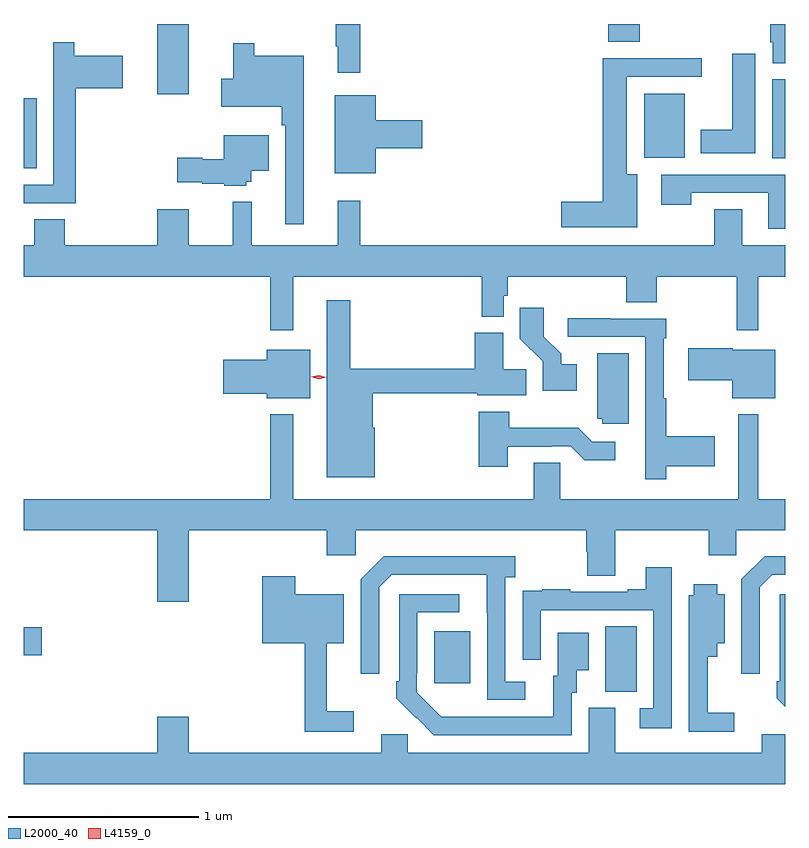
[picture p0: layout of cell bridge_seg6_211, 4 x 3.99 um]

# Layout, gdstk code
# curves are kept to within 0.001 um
import gdstk
lib = gdstk.Library(unit=1e-6, precision=1e-09)
def R(c, l, rs):  # rectangles x0, y0, x1, y1
    for r in rs: c.add(gdstk.rectangle(r[:2], r[2:], *l))
def P(c, l, *ps):  # polygons
    for p in ps: c.add(gdstk.Polygon(p, *l))
L2000_40 = (2000, 40)
L4159_0 = (4159, 0)

bridge_seg6_211 = lib.new_cell('bridge_seg6_211')
R(bridge_seg6_211, L2000_40, [(155.372,923.845,155.536,924.188), (154.475,923.889,154.663,924.163), (152.318,924.035,152.413,924.182), (152.318,926.592,152.386,926.961), (156.248,926.644,156.318,927.06), (155.576,926.648,155.788,926.983), (153.02,926.982,153.184,927.35), (155.387,927.257,155.552,927.35)])
P(bridge_seg6_211, L2000_40, [(154.085,927.35),(153.957,927.35),(153.957,927.233),(153.968,927.233),(153.968,927.093),(154.085,927.093)],
  [(156.318,927.35),(156.239,927.35),(156.239,927.255),(156.251,927.255),(156.251,927.145),(156.318,927.145)],
  [(152.591,927.014),(152.839,927.014),(152.839,927.184),(152.584,927.184),(152.584,927.253),(152.474,927.253),(152.474,927.03),(152.475,927.03),(152.475,926.505),(152.318,926.505),(152.318,926.409),(152.591,926.409)],
  [(153.79,927.184),(153.529,927.184),(153.529,927.25),(153.418,927.25),(153.418,927.063),(153.356,927.063),(153.356,926.915),(153.673,926.915),(153.673,926.819),(153.693,926.819),(153.693,926.298),(153.79,926.298)],
  [(156.16,927.193),(156.038,927.193),(156.038,926.794),(155.873,926.794),(155.873,926.672),(156.16,926.672)],
  [(155.539,926.56),(155.485,926.56),(155.485,927.072),(155.878,927.072),(155.878,927.17),(155.36,927.17),(155.36,926.417),(155.142,926.417),(155.142,926.282),(155.539,926.282)],
  [(154.168,926.699),(154.411,926.699),(154.411,926.846),(154.168,926.846),(154.168,926.977),(153.953,926.977),(153.953,926.567),(154.168,926.567)],
  [(153.486,926.523),(153.514,926.523),(153.514,926.579),(153.604,926.579),(153.604,926.767),(153.368,926.767),(153.368,926.641),(153.255,926.641),(153.255,926.649),(153.126,926.649),(153.126,926.519),(153.255,926.519),(153.255,926.512),(153.372,926.512),(153.372,926.501),(153.486,926.501)],
  [(156.318,926.559),(155.667,926.559),(155.667,926.4),(155.823,926.4),(155.823,926.463),(156.227,926.463),(156.227,926.274),(156.318,926.274)],
  [(153.733,926.024),(154.723,926.024),(154.723,925.814),(154.839,925.814),(154.839,925.923),(154.859,925.923),(154.859,926.024),(155.483,926.024),(155.483,925.888),(155.643,925.888),(155.643,926.024),(156.061,926.024),(156.061,925.743),(156.175,925.743),(156.175,926.024),(156.318,926.024),(156.318,926.188),(156.091,926.188),(156.091,926.378),(155.944,926.378),(155.944,926.188),(154.085,926.188),(154.085,926.422),(153.968,926.422),(153.968,926.188),(153.515,926.188),(153.515,926.416),(153.415,926.416),(153.415,926.188),(153.184,926.188),(153.184,926.377),(153.02,926.377),(153.02,926.188),(152.535,926.188),(152.535,926.324),(152.375,926.324),(152.375,926.188),(152.318,926.188),(152.318,926.024),(153.612,926.024),(153.612,925.743),(153.733,925.743)],
  [(154.162,925.23),(154.15,925.23),(154.15,925.411),(154.7,925.411),(154.7,925.4),(154.958,925.4),(154.958,925.538),(154.837,925.538),(154.837,925.729),(154.688,925.729),(154.688,925.54),(154.033,925.54),(154.033,925.9),(153.911,925.9),(153.911,924.971),(154.162,924.971)],
  [(155.221,925.564),(155.14,925.564),(155.14,925.619),(155.05,925.709),(155.05,925.861),(154.924,925.861),(154.924,925.698),(155.043,925.579),(155.043,925.424),(155.221,925.424)],
  [(155.692,925.028),(155.947,925.028),(155.947,925.186),(155.692,925.186),(155.692,925.385),(155.679,925.385),(155.679,925.7),(155.692,925.7),(155.692,925.803),(155.399,925.803),(155.399,925.806),(155.175,925.806),(155.175,925.707),(155.583,925.707),(155.583,925.182),(155.582,925.182),(155.582,924.96),(155.692,924.96)],
  [(156.265,925.639),(156.042,925.639),(156.042,925.647),(155.808,925.647),(155.808,925.481),(156.038,925.481),(156.038,925.385),(156.265,925.385)],
  [(153.823,925.639),(153.596,925.639),(153.596,925.587),(153.366,925.587),(153.366,925.409),(153.596,925.409),(153.596,925.385),(153.823,925.385)],
  [(155.494,925.622),(155.33,925.622),(155.33,925.278),(155.355,925.278),(155.355,925.251),(155.494,925.251)],
  [(154.861,925.131),(155.09,925.131),(155.09,925.134),(155.19,925.134),(155.263,925.061),(155.425,925.061),(155.425,925.158),(155.304,925.158),(155.231,925.231),(154.869,925.231),(154.869,925.315),(154.709,925.315),(154.709,925.026),(154.861,925.026)],
  [(153.184,924.692),(153.911,924.692),(153.911,924.561),(154.062,924.561),(154.062,924.692),(155.273,924.692),(155.273,924.579),(155.278,924.579),(155.278,924.454),(155.425,924.454),(155.425,924.692),(155.914,924.692),(155.914,924.561),(156.06,924.561),(156.06,924.692),(156.318,924.692),(156.318,924.856),(156.175,924.856),(156.175,925.3),(156.071,925.3),(156.071,924.856),(155.136,924.856),(155.136,925.046),(154.997,925.046),(154.997,924.856),(153.733,924.856),(153.733,925.3),(153.612,925.3),(153.612,924.856),(152.318,924.856),(152.318,924.692),(153.02,924.692),(153.02,924.318),(153.184,924.318)],
  [(156.183,924.393),(156.249,924.459),(156.318,924.459),(156.318,924.556),(156.208,924.556),(156.087,924.435),(156.087,923.94),(156.183,923.94)],
  [(154.951,923.898),(154.848,923.898),(154.848,924.446),(154.9,924.446),(154.9,924.556),(154.21,924.556),(154.089,924.435),(154.089,923.94),(154.185,923.94),(154.185,924.393),(154.251,924.459),(154.751,924.459),(154.752,923.802),(154.951,923.802)],
  [(155.721,924.499),(155.585,924.499),(155.585,924.382),(155.489,924.382),(155.489,924.369),(155.189,924.369),(155.189,924.382),(155.041,924.382),(155.041,924.375),(154.939,924.375),(154.939,924.266),(154.938,924.266),(154.938,924.012),(155.034,924.012),(155.034,924.273),(155.625,924.273),(155.625,923.757),(155.553,923.757),(155.553,923.652),(155.721,923.652)],
  [(154.051,923.743),(153.911,923.743),(153.911,924.098),(154,924.098),(154,924.355),(153.744,924.355),(153.744,924.451),(153.571,924.451),(153.571,924.098),(153.793,924.098),(153.793,923.634),(154.051,923.634)],
  [(156.049,923.735),(155.909,923.735),(155.909,924.029),(155.959,924.029),(155.959,924.098),(155.998,924.098),(155.998,924.355),(155.959,924.355),(155.959,924.409),(155.837,924.409),(155.837,924.351),(155.81,924.351),(155.81,924.133),(155.811,924.133),(155.811,923.634),(156.049,923.634)],
  [(156.318,924.357),(156.288,924.357),(156.288,923.899),(156.273,923.899),(156.273,923.811),(156.318,923.766)],
  [(155.196,923.838),(155.221,923.838),(155.221,923.957),(155.284,923.957),(155.284,924.154),(155.123,924.154),(155.123,923.928),(155.099,923.928),(155.099,923.712),(154.512,923.713),(154.383,923.841),(154.383,923.941),(154.386,923.941),(154.386,924.261),(154.606,924.261),(154.606,924.357),(154.29,924.357),(154.29,923.899),(154.275,923.899),(154.275,923.811),(154.472,923.616),(155.196,923.616)],
  [(156.318,923.622),(156.194,923.622),(156.194,923.524),(155.425,923.524),(155.425,923.76),(155.285,923.76),(155.285,923.524),(154.335,923.524),(154.335,923.622),(154.196,923.622),(154.196,923.524),(153.184,923.524),(153.184,923.713),(153.02,923.713),(153.02,923.524),(152.318,923.524),(152.318,923.36),(156.318,923.36)])
P(bridge_seg6_211, L4159_0, [(153.867,925.486),(153.829,925.497),(153.829,925.498),(153.829,925.498),(153.868,925.506),(153.906,925.495),(153.906,925.495),(153.906,925.495)])

lib.write_gds('bridge_seg6_211.gds')
